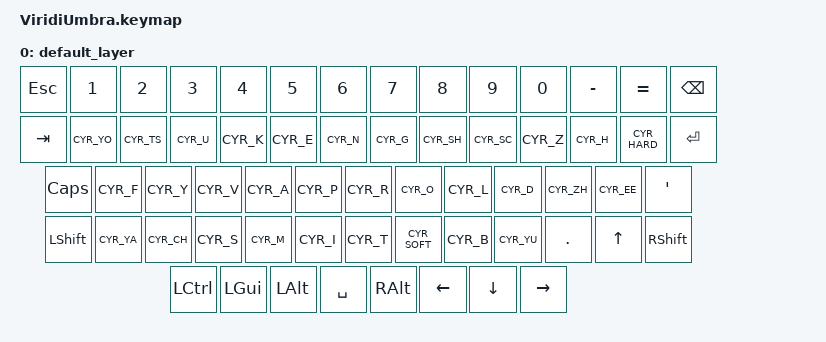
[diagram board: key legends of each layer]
/ {
keymap {
compatible = "zmk,keymap";
default_layer {
bindings = <
&kp ESC &kp N1 &kp N2 &kp N3 &kp N4 &kp N5 &kp N6 &kp N7 &kp N8 &kp N9 &kp N0 &kp MINUS &kp EQUAL &kp BSPC
&kp TAB &kp CYR_YO &kp CYR_TS &kp CYR_U &kp CYR_K &kp CYR_E &kp CYR_N &kp CYR_G &kp CYR_SH &kp CYR_SC &kp CYR_Z &kp CYR_H &kp CYR_HARD &kp ENTER
&kp CAPS &kp CYR_F &kp CYR_Y &kp CYR_V &kp CYR_A &kp CYR_P &kp CYR_R &kp CYR_O &kp CYR_L &kp CYR_D &kp CYR_ZH &kp CYR_EE &kp SQT
&kp LSHIFT &kp CYR_YA &kp CYR_CH &kp CYR_S &kp CYR_M &kp CYR_I &kp CYR_T &kp CYR_SOFT &kp CYR_B &kp CYR_YU &kp DOT &kp UP &kp RSHIFT
&kp LCTRL &kp LGUI &kp LALT &kp SPACE &kp RALT &kp LEFT &kp DOWN &kp RIGHT
>;
};
};
};
